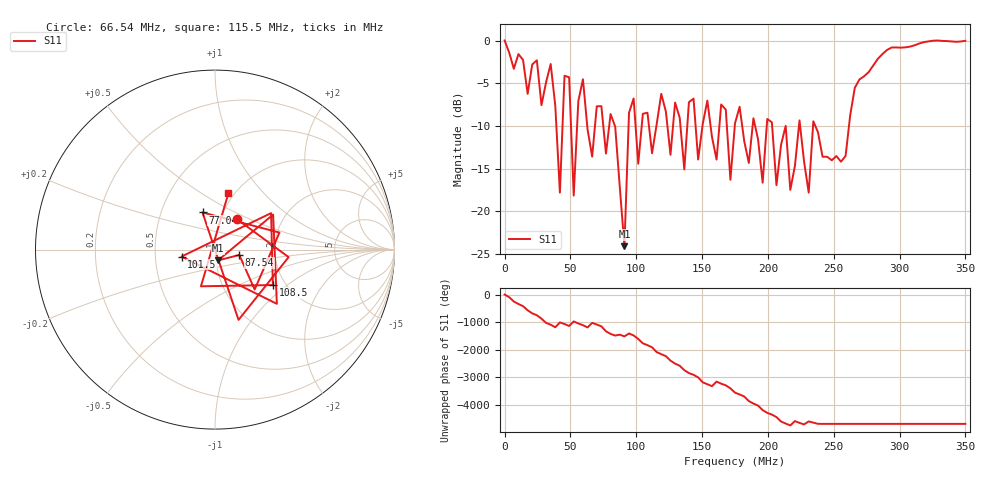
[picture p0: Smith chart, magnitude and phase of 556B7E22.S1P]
!File created by NanoVNA
# Hz S RI R 50
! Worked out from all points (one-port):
!   101 points, 50 kHz to 350 MHz, reference 50 ohm
!   lowest |S11| = -24.1 dB at 91.04 MHz (marker M1), VSWR 1.13, Z = 51.3 - j6.23 ohm
!   |S11| at or under -10 dB: 62.81 MHz to 68.67 MHz (5.864 MHz wide, 8.92 % of centre); 83.86 MHz to 94.19 MHz (10.33 MHz wide, 11.6 % of centre); 236 MHz to 261.6 MHz (25.56 MHz wide, 10.3 % of centre) (the widest 3 of 18)
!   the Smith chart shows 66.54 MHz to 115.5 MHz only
!   S11 on the Smith chart (normalised r, x): 66.54 MHz: 1.20, +0.42; 77.04 MHz: 0.80, +0.35; 87.54 MHz: 1.31, -0.08; 101.5 MHz: 0.68, -0.05; 108.5 MHz: 1.72, -0.79; 115.5 MHz: 0.94, +0.66
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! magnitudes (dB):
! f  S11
! 50 kHz  0.0
! 35.05 MHz  -2.8
! 42.04 MHz  -17.8
! 45.54 MHz  -4.1
! 49.04 MHz  -4.3
! 52.54 MHz  -18.1
! 59.54 MHz  -4.5
! 66.54 MHz  -13.6
! 70.04 MHz  -7.7
! 77.04 MHz  -13.2
! 80.54 MHz  -8.6
! 87.54 MHz  -17.2
! 91.04 MHz  -24.1
! 94.54 MHz  -8.4
! 101.5 MHz  -14.4
! 108.5 MHz  -8.4
! 115.5 MHz  -9.8
! 133 MHz  -9.0
! 136.5 MHz  -15.1
! 140 MHz  -7.2
! 147 MHz  -13.9
! 168 MHz  -8.1
! 171.5 MHz  -16.3
! 175 MHz  -9.7
! 220.5 MHz  -14.7
! 262.5 MHz  -8.7
! 308 MHz  -0.7
! 350 MHz  0.0
